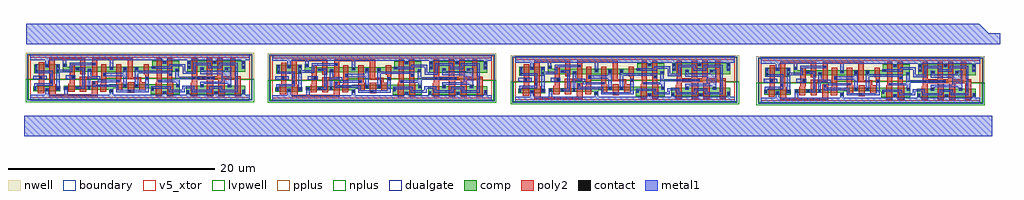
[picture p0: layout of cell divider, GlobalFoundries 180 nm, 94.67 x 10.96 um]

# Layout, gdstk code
import gdstk
lib = gdstk.Library(unit=1e-6, precision=1e-09)
def R(c, l, rs):  # rectangles x0, y0, x1, y1
    for r in rs: c.add(gdstk.rectangle(r[:2], r[2:], *l))
def A(c, l, x, y, w, h, nx, ny, dx, dy):  # array of equal rectangles
    R(c, l, [(x+i*dx, y+j*dy, x+i*dx+w, y+j*dy+h) for i in range(nx) for j in range(ny)])
def P(c, l, *ps):  # polygons
    for p in ps: c.add(gdstk.Polygon(p, *l))
boundary = (0, 0)
nwell = (21, 0)
comp = (22, 0)
poly2 = (30, 0)
pplus = (31, 0)
nplus = (32, 0)
contact = (33, 0)
metal1 = (34, 0)
dualgate = (55, 0)
v5_xtor = (112, 1)
lvpwell = (204, 0)

gf180mcu_fd_sc_mcu7t5v0_ = lib.new_cell('gf180mcu_fd_sc_mcu7t5v0__dffnq_4')
R(gf180mcu_fd_sc_mcu7t5v0_, boundary, [(0,0,21.28,3.92)])
P(gf180mcu_fd_sc_mcu7t5v0_, nwell, [(-0.43,1.76),(-0.43,4.35),(21.71,4.35),(21.71,1.76),(20.35,1.76),(20.35,1.885),(7.265,1.885),(7.265,1.76)])
R(gf180mcu_fd_sc_mcu7t5v0_, comp, [(0.31,0.62,2.91,1.085), (0.41,2.36,2.81,3.225), (15.24,2.485,20.86,3.58)])
P(gf180mcu_fd_sc_mcu7t5v0_, comp, [(3.17,2.5),(3.17,3.3),(3.53,3.3),(3.53,2.995),(11.82,2.995),(11.82,3.575),(14.44,3.575),(14.44,2.5)],
  [(11.68,0.34),(11.68,0.925),(8.05,0.925),(8.05,0.515),(7.69,0.515),(7.69,0.78),(3.27,0.78),(3.27,1.14),(7.69,1.14),(7.69,1.285),(14.5,1.285),(14.5,0.34)],
  [(15.14,0.34),(15.14,1.16),(16.48,1.16),(16.48,1.285),(16.84,1.285),(16.84,1.16),(19.16,1.16),(19.16,1.285),(19.52,1.285),(19.52,1.16),(20.86,1.16),(20.86,0.34)])
R(gf180mcu_fd_sc_mcu7t5v0_, poly2, [(9.47,0.465,10.07,1.505)])
P(gf180mcu_fd_sc_mcu7t5v0_, poly2, [(0.75,0.4),(0.75,1.305),(0.85,1.305),(0.85,3.45),(1.35,3.45),(1.35,0.4)],
  [(3.71,0.56),(3.71,1.36),(3.83,1.36),(3.83,3.215),(4.33,3.215),(4.33,1.44),(4.31,1.44),(4.31,0.56)],
  [(1.87,0.12),(1.87,3.8),(5.35,3.8),(5.35,2.28),(4.85,2.28),(4.85,3.6),(2.37,3.6),(2.37,1.305),(2.47,1.305),(2.47,0.32),(5.95,0.32),(5.95,1.6),(6.55,1.6),(6.55,0.12)],
  [(6.79,0.56),(6.79,1.36),(6.89,1.36),(6.89,3.215),(7.39,3.215),(7.39,0.56)],
  [(8.35,0.705),(8.35,3.215),(8.85,3.215),(8.85,1.505),(8.95,1.505),(8.95,0.705)],
  [(4.83,0.56),(4.83,2.04),(6.005,2.04),(6.005,3.8),(9.965,3.8),(9.965,1.995),(10.79,1.995),(10.79,1.505),(11.19,1.505),(11.19,0.705),(10.59,0.705),(10.59,1.795),(9.465,1.795),(9.465,3.6),(6.505,3.6),(6.505,1.84),(5.43,1.84),(5.43,0.56)],
  [(11.16,1.745),(11.16,2.28),(11.02,2.28),(11.02,3.215),(11.52,3.215),(11.52,1.745)],
  [(12.16,0.12),(12.16,1.505),(12.26,1.505),(12.26,3.8),(12.76,3.8),(12.76,0.12)],
  [(13.28,0.12),(13.28,3.8),(13.78,3.8),(13.78,1.505),(13.88,1.505),(13.88,0.12)],
  [(15.58,0.12),(15.58,1.44),(15.68,1.44),(15.68,3.8),(16.18,3.8),(16.18,2.08),(17.14,2.08),(17.14,3.8),(17.64,3.8),(17.64,2.08),(18.16,2.08),(18.16,3.8),(18.66,3.8),(18.66,2.08),(19.4,2.08),(19.4,3.8),(19.9,3.8),(19.9,2.08),(20.42,2.08),(20.42,0.12),(19.82,0.12),(19.82,1.72),(18.86,1.72),(18.86,0.12),(18.26,0.12),(18.26,1.72),(17.74,1.72),(17.74,0.12),(17.14,0.12),(17.14,1.72),(16.18,1.72),(16.18,0.12)])
P(gf180mcu_fd_sc_mcu7t5v0_, pplus, [(-0.2,1.76),(-0.2,4.12),(21.48,4.12),(21.48,1.76),(20.35,1.76),(20.35,1.885),(7.265,1.885),(7.265,1.76)])
P(gf180mcu_fd_sc_mcu7t5v0_, nplus, [(-0.2,-0.2),(-0.2,1.76),(7.265,1.76),(7.265,1.885),(20.35,1.885),(20.35,1.76),(21.48,1.76),(21.48,-0.2)])
A(gf180mcu_fd_sc_mcu7t5v0_, contact, 3.34, 0.85, 0.22, 0.22, 3, 1, 1.12, 0)
A(gf180mcu_fd_sc_mcu7t5v0_, contact, 15.75, 1.79, 0.22, 0.22, 5, 1, 0.47, 0)
A(gf180mcu_fd_sc_mcu7t5v0_, contact, 0.48, 2.935, 0.22, 0.22, 3, 1, 1.02, 0)
R(gf180mcu_fd_sc_mcu7t5v0_, contact, [(12.91,0.41,13.13,0.63), (15.21,0.41,15.43,0.63), (17.89,0.41,18.11,0.63), (20.57,0.485,20.79,0.705), (9.54,0.535,9.76,0.755), (7.76,0.585,7.98,0.805), (1.5,0.69,1.72,0.91), (11.75,0.735,11.97,0.955), (0.38,0.795,0.6,1.015), (2.62,0.795,2.84,1.015), (9.1,0.995,9.32,1.215), (10.22,0.995,10.44,1.215), (14.21,0.995,14.43,1.215), (16.55,0.995,16.77,1.215), (19.23,0.995,19.45,1.215), (6.095,1.31,6.315,1.53), (1.94,1.405,2.16,1.625), (8.42,1.505,8.64,1.725), (12.47,1.505,12.69,1.725), (11.23,1.815,11.45,2.035), (0.92,1.835,1.14,2.055), (4.04,1.85,4.26,2.07), (7.1,2.11,7.32,2.33), (13.49,2.11,13.71,2.33), (0.48,2.465,0.7,2.685), (2.52,2.465,2.74,2.685), (5.635,2.57,5.855,2.79), (14.15,2.57,14.37,2.79), (4.48,2.65,4.7,2.87), (9.095,2.65,9.315,2.87), (10.22,2.65,10.44,2.87), (7.765,2.705,7.985,2.925), (16.55,2.705,16.77,2.925), (18.93,2.705,19.15,2.925), (11.89,2.82,12.11,3.04), (15.31,2.82,15.53,3.04), (20.57,2.82,20.79,3.04), (3.24,3.01,3.46,3.23), (6.075,3.165,6.295,3.385), (12.91,3.285,13.13,3.505), (15.31,3.29,15.53,3.51), (17.79,3.29,18.01,3.51), (20.57,3.29,20.79,3.51)])
R(gf180mcu_fd_sc_mcu7t5v0_, metal1, [(0.28,1.77,1.59,2.13), (3.45,1.77,4.39,2.15)])
P(gf180mcu_fd_sc_mcu7t5v0_, metal1, [(0.375,0.735),(0.375,1.375),(1.935,1.375),(1.935,2.36),(0.475,2.36),(0.475,3.225),(0.705,3.225),(0.705,2.59),(2.165,2.59),(2.165,1.145),(0.605,1.145),(0.605,0.735)],
  [(4.4,0.845),(4.4,1.075),(5.055,1.075),(5.055,2.645),(4.42,2.645),(4.42,2.875),(5.29,2.875),(5.29,0.845)],
  [(2.515,0.735),(2.515,3.225),(2.845,3.225),(2.845,2.71),(3.83,2.71),(3.83,3.39),(6.355,3.39),(6.355,3.16),(4.06,3.16),(4.06,2.48),(2.845,2.48),(2.845,0.735)],
  [(5.575,0.79),(5.575,2.795),(5.915,2.795),(5.915,2.05),(6.78,2.05),(6.78,1.73),(8.7,1.73),(8.7,1.5),(6.55,1.5),(6.55,1.82),(5.805,1.82),(5.805,0.79)],
  [(9.04,0.99),(9.04,2.05),(7.095,2.05),(7.095,2.39),(9.04,2.39),(9.04,2.93),(9.38,2.93),(9.38,0.99)],
  [(8.33,0.53),(8.33,1.04),(6.09,1.04),(6.09,1.59),(6.32,1.59),(6.32,1.27),(8.56,1.27),(8.56,0.76),(11.17,0.76),(11.17,2.04),(11.51,2.04),(11.51,0.53)],
  [(10.16,0.99),(10.16,2.93),(10.5,2.93),(10.5,2.585),(13.77,2.585),(13.77,2.105),(13.43,2.105),(13.43,2.355),(10.5,2.355),(10.5,0.99)],
  [(14.15,0.99),(14.15,1.495),(12.41,1.495),(12.41,1.73),(14.09,1.73),(14.09,2.795),(14.43,2.795),(14.43,2.015),(17.91,2.015),(17.91,1.785),(14.49,1.785),(14.49,0.99)],
  [(16.49,0.99),(16.49,1.555),(18.57,1.555),(18.57,2.245),(16.49,2.245),(16.49,2.93),(16.84,2.93),(16.84,2.595),(18.87,2.595),(18.87,2.93),(19.51,2.93),(19.51,0.99),(19.17,0.99),(19.17,1.325),(16.83,1.325),(16.83,0.99)],
  [(13.42,0.53),(13.42,0.865),(11.975,0.865),(11.975,0.675),(11.745,0.675),(11.745,1.095),(13.65,1.095),(13.65,0.76),(14.745,0.76),(14.745,1.15),(15.895,1.15),(15.895,0.76),(17.37,0.76),(17.37,1.095),(18.63,1.095),(18.63,0.76),(19.9,0.76),(19.9,3.16),(18.53,3.16),(18.53,2.825),(17.27,2.825),(17.27,3.16),(16.055,3.16),(16.055,2.295),(14.79,2.295),(14.79,3.025),(13.73,3.025),(13.73,2.815),(11.79,2.815),(11.79,3.05),(13.5,3.05),(13.5,3.255),(15.02,3.255),(15.02,2.525),(15.825,2.525),(15.825,3.39),(17.5,3.39),(17.5,3.055),(18.3,3.055),(18.3,3.39),(20.13,3.39),(20.13,0.53),(18.4,0.53),(18.4,0.865),(17.6,0.865),(17.6,0.53),(15.665,0.53),(15.665,0.92),(14.975,0.92),(14.975,0.53)],
  [(0,-0.3),(0,0.3),(1.44,0.3),(1.44,0.915),(1.78,0.915),(1.78,0.3),(3.28,0.3),(3.28,1.075),(3.62,1.075),(3.62,0.3),(7.7,0.3),(7.7,0.81),(8.04,0.81),(8.04,0.3),(12.85,0.3),(12.85,0.635),(13.19,0.635),(13.19,0.3),(15.205,0.3),(15.205,0.69),(15.435,0.69),(15.435,0.3),(17.83,0.3),(17.83,0.635),(18.17,0.635),(18.17,0.3),(20.565,0.3),(20.565,0.765),(20.795,0.765),(20.795,0.3),(21.28,0.3),(21.28,-0.3)],
  [(7.705,2.7),(7.705,3.62),(3.52,3.62),(3.52,3.005),(3.18,3.005),(3.18,3.62),(1.78,3.62),(1.78,2.93),(1.44,2.93),(1.44,3.62),(0,3.62),(0,4.22),(21.28,4.22),(21.28,3.62),(20.85,3.62),(20.85,2.815),(20.51,2.815),(20.51,3.62),(18.07,3.62),(18.07,3.285),(17.73,3.285),(17.73,3.62),(15.59,3.62),(15.59,2.815),(15.25,2.815),(15.25,3.62),(13.19,3.62),(13.19,3.28),(12.85,3.28),(12.85,3.62),(8.045,3.62),(8.045,2.7)])
R(gf180mcu_fd_sc_mcu7t5v0_, dualgate, [(-0.28,-0.28,21.56,4.2)])
R(gf180mcu_fd_sc_mcu7t5v0_, v5_xtor, [(0,0,21.28,3.92)])
P(gf180mcu_fd_sc_mcu7t5v0_, lvpwell, [(-0.43,-0.43),(-0.43,1.76),(7.265,1.76),(7.265,1.885),(20.35,1.885),(20.35,1.76),(21.71,1.76),(21.71,-0.43)])
gf180mcu_fd_sc_mcu7t5v0_.add(gdstk.Label('D', (3.64,1.96), layer=34, texttype=10))
gf180mcu_fd_sc_mcu7t5v0_.add(gdstk.Label('Q', (18.76,1.96), layer=34, texttype=10))
gf180mcu_fd_sc_mcu7t5v0_.add(gdstk.Label('VDD', (1.4,3.92), layer=34, texttype=10))
gf180mcu_fd_sc_mcu7t5v0_.add(gdstk.Label('VSS', (1.4,0), layer=34, texttype=10))
gf180mcu_fd_sc_mcu7t5v0_.add(gdstk.Label('CLKN', (0.84,1.96), layer=34, texttype=10))
gf180mcu_fd_sc_mcu7t5v0_.add(gdstk.Label('& Vendor GLOBALFOUNDRIES', (0,2), layer=63, texttype=63))
gf180mcu_fd_sc_mcu7t5v0_.add(gdstk.Label('& Product GF018hv5v_mcu_sc7', (0,1.5), layer=63, texttype=63))
gf180mcu_fd_sc_mcu7t5v0_.add(gdstk.Label('& Version 2015q2v1', (0,1), layer=63, texttype=63))
gf180mcu_fd_sc_mcu7t5v0_.add(gdstk.Label('& Metric 1.00', (0,0.5), layer=63, texttype=63))
gf180mcu_fd_sc_mcu7t5v0_.add(gdstk.Label('VNW', (0.345,3.92), layer=21, texttype=10))
gf180mcu_fd_sc_mcu7t5v0_.add(gdstk.Label('VPW', (0.34,-0.085), layer=204, texttype=10))

divider = lib.new_cell('divider')
divider.add(gdstk.FlexPath([(-9.85,5.97),(83.575,5.97),(83.575,6.03),(83.575,6.03)], 2, ends="flush", simple_path=True, layer=34, datatype=0))  # metal1
divider.add(gdstk.FlexPath([(-10.09,-2.985),(83.815,-2.985)], 2, ends="flush", simple_path=True, layer=34, datatype=0))  # metal1
divider.add(gdstk.Reference(gf180mcu_fd_sc_mcu7t5v0_, (-9.49,-0.215)))
divider.add(gdstk.Reference(gf180mcu_fd_sc_mcu7t5v0_, (13.99,-0.275)))
divider.add(gdstk.Reference(gf180mcu_fd_sc_mcu7t5v0_, (37.55,-0.435)))
divider.add(gdstk.Reference(gf180mcu_fd_sc_mcu7t5v0_, (61.385,-0.535)))

lib.write_gds('divider.gds')
